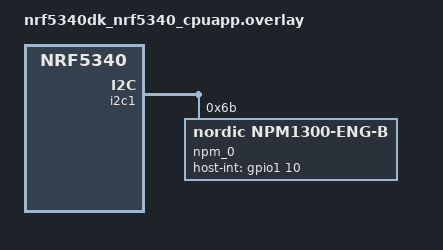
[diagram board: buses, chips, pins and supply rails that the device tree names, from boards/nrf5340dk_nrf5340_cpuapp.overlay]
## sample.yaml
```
#
# Copyright (c) 2023 Nordic Semiconductor ASA
#
# SPDX-License-Identifier: BSD-3-Clause
#

sample:
  description: TIMER sample
  name: TIMER

common:
  integration_platforms:
    - nrf5340dk/nrf5340/cpuapp
    - nrf52840dk/nrf52840
  platform_allow:
    - nrf5340dk/nrf5340/cpuapp
    - nrf52840dk/nrf52840
  tags: pmic
  timeout: 30

tests:
  sample.timer:
    harness: console
    harness_config:
      fixture: nPM130x_setup
      type: multi_line
      ordered: true
      regex:
        - "PMIC device OK."
        - "Elapsed time:"
```

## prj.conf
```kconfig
#
# Copyright (c) 2022-2023 Nordic Semiconductor ASA
#
# SPDX-License-Identifier: BSD-3-Clause
#

CONFIG_SERIAL=y
CONFIG_CONSOLE=y
CONFIG_UART_CONSOLE=y

CONFIG_I2C=y
CONFIG_NPMX=y
CONFIG_LOG=y
CONFIG_NPMX_LOG_LEVEL_DBG=y
CONFIG_SHELL=y
CONFIG_ASSERT=y

# Core Dump configuration
CONFIG_DEBUG_COREDUMP=y
CONFIG_DEBUG_COREDUMP_BACKEND_LOGGING=y
```

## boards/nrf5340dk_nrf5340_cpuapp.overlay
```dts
/*
 * Copyright (c) 2022 Nordic Semiconductor ASA
 *
 * SPDX-License-Identifier: BSD-3-Clause
 */

&i2c1 {
	compatible = "nordic,nrf-twim";
	status = "okay";

	npm_0: npm1300@6b {
		status = "okay";
		compatible = "nordic,npm1300-eng-b";
		reg = <0x6b>;
		host-int-gpios = <&gpio1 10 (GPIO_PULL_DOWN | GPIO_ACTIVE_HIGH)>;
		pmic-int-pin = <0>;
	};
};

&i2c1_default {
	group1 {
		bias-pull-up;
	};
};
```

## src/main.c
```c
/*
 * Copyright (c) 2022-2023 Nordic Semiconductor ASA
 *
 * SPDX-License-Identifier: BSD-3-Clause
 */

#include <zephyr/logging/log.h>
#include <zephyr/kernel.h>
#include <npmx_core.h>
#include <npmx_driver.h>
#include <npmx_timer.h>

#define LOG_MODULE_NAME timer
LOG_MODULE_REGISTER(LOG_MODULE_NAME);

/* Timeout in milliseconds during which an npmx device should call a timer interrupt. */
#define APP_TIMEOUT_MILLISECONDS 500

/* Structure used to submit @ref timeout_callback after the @ref APP_TIMEOUT_MILLISECONDS delay. */
static struct k_work_delayable timeout_timer;

/**
 * @brief Callback function called if npmx device does not call timer interrupt.
 *
 * @param[in] work Structure used to submit work.
 */
static void timeout_callback(struct k_work *work)
{
	LOG_ERR("Timeout, interrupt not received within %d ms.", APP_TIMEOUT_MILLISECONDS);
}

/* Variable filled in @ref main() when timer starts working. */
static volatile uint32_t start_time;

/**
 * @brief Callback function to be used when SHIPHOLD WATCHDOG event occurs.
 *        SHIPHOLD WATCHDOG is used by the timer in the general purpose timer mode.
 *
 * @param[in] p_pm Pointer to the instance of nPM device.
 * @param[in] type Callback type. Should be @ref NPMX_CALLBACK_TYPE_EVENT_SHIPHOLD.
 * @param[in] mask Received event interrupt mask.
 */
static void timer_callback(npmx_instance_t *p_pm, npmx_callback_type_t type, uint8_t mask)
{
	/* Cancel timeout. */
	k_work_cancel_delayable(&timeout_timer);

	/* Calculate elapsed time and print log info. */
	LOG_INF("Elapsed time: %d ms.", k_uptime_get_32() - start_time);

	/* Call generic callback to print interrupt data. */
	p_pm->generic_cb(p_pm, type, mask);
}

int main(void)
{
	const struct device *pmic_dev = DEVICE_DT_GET(DT_NODELABEL(npm_0));

	if (!device_is_ready(pmic_dev)) {
		LOG_INF("PMIC device is not ready.");
		return 0;
	}

	LOG_INF("PMIC device OK.");

	/* Initialize a delayable work structure used for timeout. */
	k_work_init_delayable(&timeout_timer, timeout_callback);

	/* Get the pointer to npmx device. */
	npmx_instance_t *npmx_instance = npmx_driver_instance_get(pmic_dev);

	/* Get the pointer to TIMER instance. */
	npmx_timer_t *timer_instance = npmx_timer_get(npmx_instance, 0);

	/* Register SHIPHOLD callback. */
	npmx_core_register_cb(npmx_instance, timer_callback, NPMX_CALLBACK_TYPE_EVENT_SHIPHOLD);

	/* General purpose timer mode uses SHIPHOLD WATCHDOG bit to indicate interrupt. */
	npmx_core_event_interrupt_enable(npmx_instance, NPMX_EVENT_GROUP_SHIPHOLD,
					 NPMX_EVENT_GROUP_SHIPHOLD_WATCHDOG_MASK);

	/* Fill timer's configuration structure to work with the general purpose timer mode. */
	npmx_timer_config_t timer_config = {
		.mode = NPMX_TIMER_MODE_GENERAL_PURPOSE, /* General purpose timer mode. */
		.prescaler = NPMX_TIMER_PRESCALER_FAST, /* Timer clock set to 512 Hz. */
		.compare_value = 200 /* Timer counts to compare_value ticks, */
		/* expected total time is ((1/512) * compare_value). */
	};

	/* Set timer configuration. */
	npmx_timer_config_set(timer_instance, &timer_config);

	/* Enable timer to execute the interrupt. */
	npmx_timer_task_trigger(timer_instance, NPMX_TIMER_TASK_ENABLE);

	/* Save current time to calculate the time difference in the callback. */
	start_time = k_uptime_get_32();

	/* Start timeout timer. */
	k_work_reschedule(&timeout_timer, K_MSEC(APP_TIMEOUT_MILLISECONDS));

	while (1) {
		k_sleep(K_FOREVER);
	}

	return 0;
}
```
